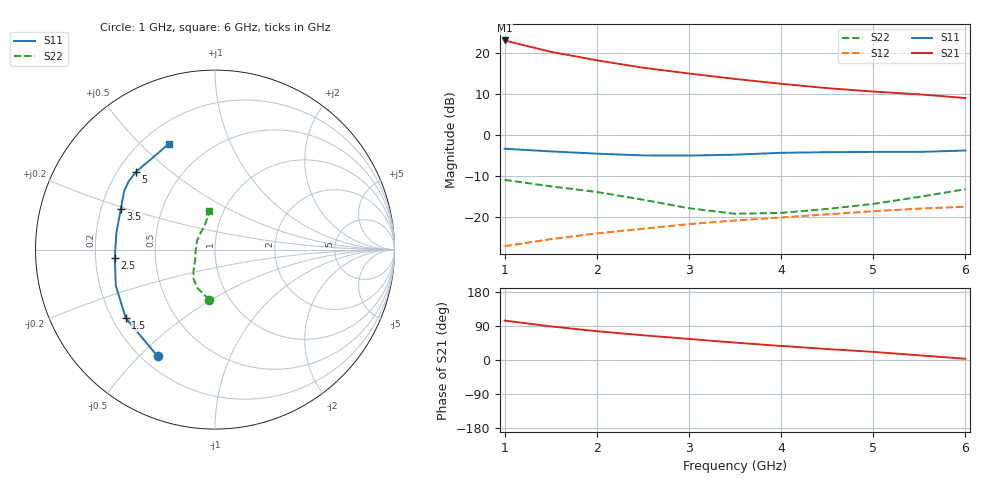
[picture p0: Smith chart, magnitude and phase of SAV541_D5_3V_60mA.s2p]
! Created Mon Oct 27 15:00:04 2008
# hz S ma R 50
! 2 Port Network Data from SP1.SP block
! freq  magS11  angS11  magS21  angS21  magS12  angS12  magS22  angS22
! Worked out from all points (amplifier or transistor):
!   11 points, 1 GHz to 6 GHz, reference 50 ohm
!   highest |S21| = 23.0 dB at 1 GHz (marker M1)
!   |S21| within 3 dB of that: start of sweep to 1.558 GHz
!   unconditionally stable (mu >= 1): 3.881 GHz to end of sweep
!   at 1.5 GHz: K = 0.66, MSG = 22.8 dB, |S12| = -25.4 dB
!   at 3.5 GHz: K = 0.99, MSG = 17.2 dB, |S12| = -20.9 dB
!   at 6 GHz: K = 1.06, MAG = 11.7 dB, |S12| = -17.5 dB
!   S11 on the Smith chart (normalised r, x): 1 GHz: 0.26, -0.57; 1.5 GHz: 0.25, -0.32; 2.5 GHz: 0.28, -0.04; 3.5 GHz: 0.28, +0.19; 5 GHz: 0.27, +0.38; 6 GHz: 0.30, +0.61
1e9  0.6753 -118.2  14.08 104.0  0.0439 44.0  0.2818 -96.4
1.5e9  0.6266 -142.5  10.24 88.6  0.05341 39.1  0.2353 -114.6
2e9  0.5882 -160.0  8.076 76.0  0.06277 35.9  0.2008 -126.9
2.5e9  0.5601 -175.3  6.554 65.3  0.07158 33.3  0.1616 -137.3
3e9  0.5575 170.4  5.571 55.6  0.08152 30.3  0.1273 -150.9
3.5e9  0.5716 156.6  4.786 45.9  0.09022 25.7  0.1089 -174.7
4e9  0.6023 147.1  4.175 37.0  0.09822 21.8  0.1117 153.6
4.5e9  0.6132 141.5  3.695 29.0  0.1073 17.7  0.1247 128.9
5e9  0.6175 135.4  3.358 21.4  0.117 13.3  0.1436 114.1
5.5e9  0.6175 125.1  3.106 12.3  0.1258 7.8  0.1748 105.0
6e9  0.6423 113.8  2.8 3.2  0.1327 1.9  0.2172 98.1
